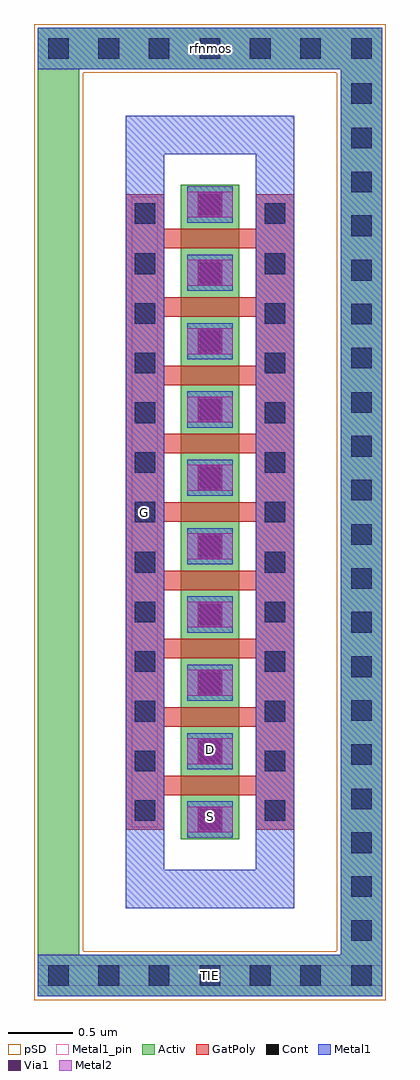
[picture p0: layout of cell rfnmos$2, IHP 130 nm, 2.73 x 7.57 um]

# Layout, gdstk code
import gdstk
lib = gdstk.Library(unit=1e-6, precision=5e-09)
def R(c, l, rs):  # rectangles x0, y0, x1, y1
    for r in rs: c.add(gdstk.rectangle(r[:2], r[2:], *l))
def A(c, l, x, y, w, h, nx, ny, dx, dy):  # array of equal rectangles
    R(c, l, [(x+i*dx, y+j*dy, x+i*dx+w, y+j*dy+h) for i in range(nx) for j in range(ny)])
def P(c, l, *ps):  # polygons
    for p in ps: c.add(gdstk.Polygon(p, *l))
Activ = (1, 0)
GatPoly = (5, 0)
Cont = (6, 0)
Metal1 = (8, 0)
Metal1_pin = (8, 2)
Metal2 = (10, 0)
pSD = (14, 0)
Via1 = (19, 0)

rfnmos_2 = lib.new_cell('rfnmos$2')
R(rfnmos_2, Activ, [(1.14,1.245,1.59,6.325)])
P(rfnmos_2, Activ, [(0.03,0.03),(0.03,7.22),(0.35,7.22),(0.35,0.35),(2.38,0.35),(2.38,7.22),(0.03,7.22),(0.03,7.54),(2.7,7.54),(2.7,0.03)])
A(rfnmos_2, GatPoly, 1.01, 1.59, 0.71, 0.15, 1, 9, 0, 0.53)
R(rfnmos_2, GatPoly, [(0.71,1.32,1.01,6.25), (1.72,1.32,2.02,6.25)])
A(rfnmos_2, Cont, 0.11, 0.11, 0.16, 0.16, 3, 2, 0.39, 7.19)
A(rfnmos_2, Cont, 1.285, 0.11, 0.16, 0.16, 3, 2, 0.39, 7.19)
A(rfnmos_2, Cont, 2.46, 0.46, 0.16, 0.16, 1, 4, 0, 0.34)
A(rfnmos_2, Cont, 1.285, 1.32, 0.16, 0.16, 1, 10, 0, 0.53)
A(rfnmos_2, Cont, 0.78, 1.39, 0.16, 0.16, 1, 6, 0, 0.385)
A(rfnmos_2, Cont, 1.79, 1.39, 0.16, 0.16, 1, 6, 0, 0.385)
A(rfnmos_2, Cont, 2.46, 1.825, 0.16, 0.16, 1, 3, 0, 0.34)
A(rfnmos_2, Cont, 2.46, 2.85, 0.16, 0.16, 1, 3, 0, 0.34)
A(rfnmos_2, Cont, 0.78, 3.705, 0.16, 0.16, 1, 6, 0, 0.385)
A(rfnmos_2, Cont, 1.79, 3.705, 0.16, 0.16, 1, 6, 0, 0.385)
A(rfnmos_2, Cont, 2.46, 3.875, 0.16, 0.16, 1, 3, 0, 0.34)
A(rfnmos_2, Cont, 2.46, 4.9, 0.16, 0.16, 1, 3, 0, 0.34)
A(rfnmos_2, Cont, 2.46, 5.925, 0.16, 0.16, 1, 3, 0, 0.34)
R(rfnmos_2, Cont, [(2.46,0.11,2.62,0.27), (0.78,6.02,0.94,6.18), (1.79,6.02,1.95,6.18), (2.46,6.95,2.62,7.11), (2.46,7.3,2.62,7.46)])
A(rfnmos_2, Metal1, 1.19, 1.26, 0.35, 0.28, 1, 10, 0, 0.53)
R(rfnmos_2, Metal1, [(0.03,0.03,2.7,0.35), (2.38,0.35,2.7,7.22), (0.76,1.34,0.96,6.23), (1.77,1.34,1.97,6.23), (0.03,7.22,2.7,7.54)])
P(rfnmos_2, Metal1, [(0.71,0.71),(0.71,6.56),(1.01,6.56),(1.01,1.01),(1.72,1.01),(1.72,6.56),(0.71,6.56),(0.71,6.86),(2.02,6.86),(2.02,0.71)])
R(rfnmos_2, Metal1_pin, [(0.03,0.11,2.7,0.27), (0.03,0.11,2.7,0.27), (1.19,1.26,1.54,1.54), (1.19,1.26,1.54,1.54), (0.76,1.34,0.96,6.23), (0.76,1.34,0.96,6.23), (1.19,1.79,1.54,2.07), (1.19,1.79,1.54,2.07)])
A(rfnmos_2, Metal2, 1.19, 1.3, 0.35, 0.2, 1, 10, 0, 0.53)
P(rfnmos_2, pSD, [(0,0),(0,7.19),(0.38,7.19),(0.38,0.38),(2.35,0.38),(2.35,7.19),(0,7.19),(0,7.57),(2.73,7.57),(2.73,0)])
A(rfnmos_2, Via1, 1.27, 1.305, 0.19, 0.19, 1, 10, 0, 0.53)
rfnmos_2.add(gdstk.Label('S', (1.365,1.42), layer=63, texttype=0))
rfnmos_2.add(gdstk.Label('D', (1.365,1.945), layer=63, texttype=0))
rfnmos_2.add(gdstk.Label('G', (0.86,3.785), layer=63, texttype=0))
rfnmos_2.add(gdstk.Label('TIE', (1.365,0.19), layer=63, texttype=0))
rfnmos_2.add(gdstk.Label('rfnmos', (1.365,7.38), layer=63, texttype=0))

lib.write_gds('rfnmos_2.gds')
